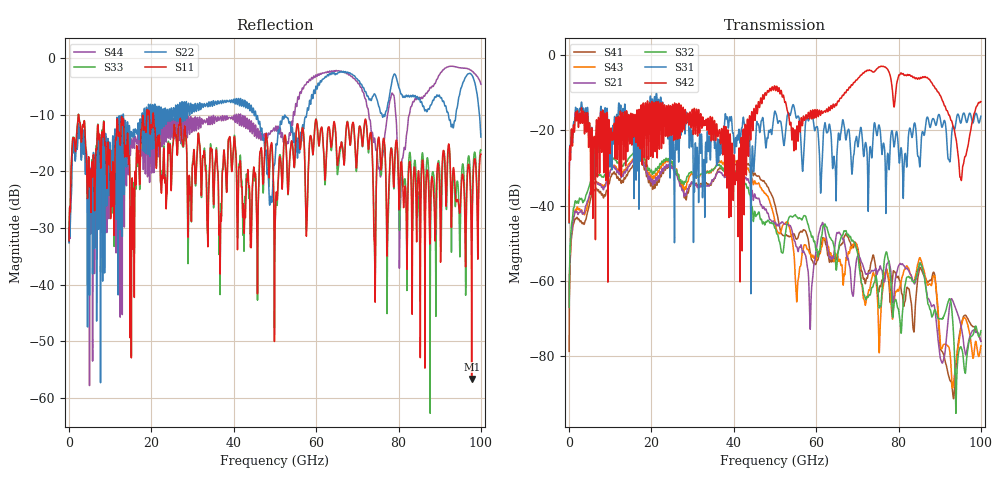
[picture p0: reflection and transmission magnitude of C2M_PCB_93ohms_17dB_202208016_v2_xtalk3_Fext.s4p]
! Info: Touchstone file created by Circ.  Input file=Intel_C2M_200G_5p5in_202208016_staggered.circ
# Hz S RI R 50
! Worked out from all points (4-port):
!   10000 points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, 10 MHz to 100 GHz, reference 50 ohm
!   strongest paths, dB at 10 MHz, 25.01 GHz, 50.01 GHz, 75.01 GHz, 100 GHz:
!     S42: -44.5, -16.2, -8.6, -3.4, -12.4
!     S31: -44.7, -27.2, -14.9, -19.8, -16.2
!     S32: -67.2, -28.3, -46.0, -62.7, -73.3
!     S21: -65.1, -30.0, -44.8, -57.3, -76.2
!     S43: -67.1, -28.4, -44.2, -67.6, -77.3
!     S41: -78.8, -29.8, -39.8, -62.4, -76.1
!   lowest |S11| = -56.6 dB at 97.76 GHz (marker M1), VSWR 1.00, Z = 50.1 - j0.0533 ohm
!   |S11| at or under -10 dB: start of sweep to 2.252 GHz; 2.309 GHz to 18.86 GHz (16.55 GHz wide, 156 % of centre); 20.5 GHz to end of sweep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
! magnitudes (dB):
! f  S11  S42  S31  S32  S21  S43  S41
! 10 MHz  -32.2  -44.5  -44.7  -67.2  -65.1  -67.1  -78.8
! 1.42 GHz  -15.6  -17.6  -16.0  -39.0  -41.7  -41.6  -43.6
! 16.99 GHz  -18.9  -14.4  -36.1  -24.9  -26.3  -26.0  -27.3
! 66.22 GHz  -15.0  -11.1  -19.0  -48.0  -48.3  -55.7  -50.1
! 80.3 GHz  -23.5  -5.2  -27.9  -70.3  -55.5  -61.6  -60.0
! 97.76 GHz  -56.6  -18.4  -17.0  -74.8  -73.6  -77.8  -71.9
! 100 GHz  -16.9  -12.4  -16.2  -73.3  -76.2  -77.3  -76.1
